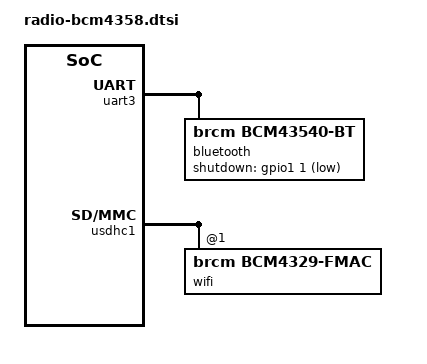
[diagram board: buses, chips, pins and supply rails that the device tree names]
// SPDX-License-Identifier: GPL-2.0
/*
 * Carlinkit U2AC: Broadcom BCM4358 (SDIO 0x02d0:0x4358 Wi-Fi on usdhc1, BT on uart3 with RTS/CTS).
 * Facts from the unit's stock firmware (fp/scripts.txt, 2026-11-25):
 *  - Wi-Fi power = GPIO1_IO05 (stock "wlreg_on", active low): reg_wlan in the board DTS.
 *  - BT reset = GPIO1_IO01: the vendor pulses it high 100 ms then leaves it LOW for operation
 *    (init_gpio.sh "reset BT", load_bluetooth_wifi.sh reset_bluetooth) -> BT powered = low.
 *  - vendor attaches BT at 3 Mbaud with BCM4358A3.hcd (brcm_patchram_plus --baudrate 3000000).
 * Wi-Fi: brcmfmac with patch 0005 (BCM4358 over SDIO), firmware brcm/brcmfmac4358-sdio.bin = the vendor's
 * fw_bcm4358_ag_apsta.bin (4358a3-roml/sdio 7.112.100.4) + its nvram_4358.txt.
 */
&iomuxc {
	pinctrl_bt: btgrp {
		fsl,pins = <
			MX6UL_PAD_GPIO1_IO01__GPIO1_IO01	0x17059
		>;
	};
};

&uart3 {
	bluetooth {
		compatible = "brcm,bcm43540-bt";
		pinctrl-names = "default";
		pinctrl-0 = <&pinctrl_bt>;
		shutdown-gpios = <&gpio1 1 GPIO_ACTIVE_LOW>;
		max-speed = <3000000>;
	};
};

&usdhc1 {
	#address-cells = <1>;
	#size-cells = <0>;

	wifi@1 {
		compatible = "brcm,bcm4329-fmac";
		reg = <1>;
		/* The firmware's built-in CLM (ClmImport 1.34.0) has GR/4, not GR/0 (patch 0005's ISO3166 fallback
		 * sends GR/0 -> restricted fallback locale, no VHT80). The map takes priority over the fallback
		 * (brcmfmac of.c parses it for SDIO). Verify: no "Firmware rejected country setting" and
		 * `iw phy phy0 channels` lists VHT80 on 5180 MHz. */
		brcm,ccode-map = "GR-GR-4", "DE-DE-0", "CN-CN-11";
	};
};
